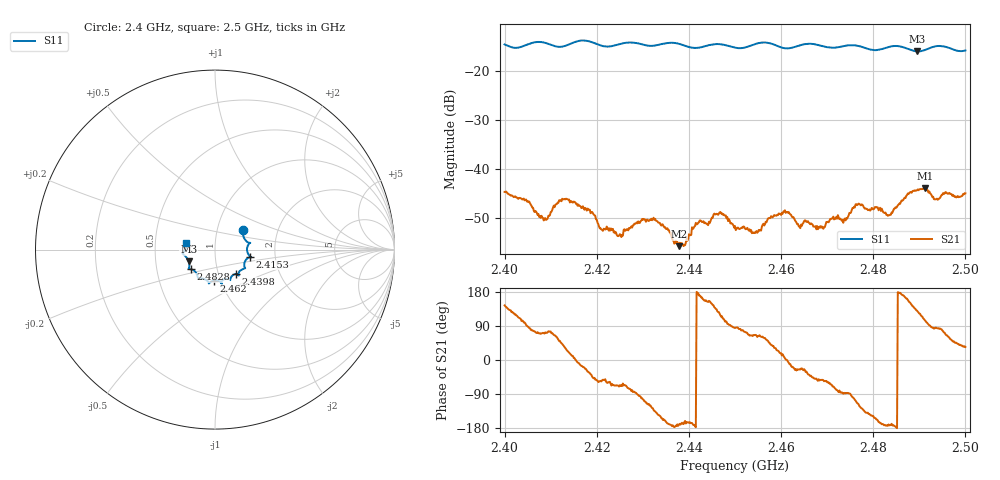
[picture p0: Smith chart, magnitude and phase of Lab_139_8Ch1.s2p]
# Hz S RI R
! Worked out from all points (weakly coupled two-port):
!   601 points, 2.4 GHz to 2.5 GHz, reference 50 ohm
!   highest |S21| = -44.00 dB at 2.4912 GHz (marker M1); lowest = -55.9 dB at 2.4378 GHz (marker M2)
!   lowest |S11| = -15.9 dB at 2.4895 GHz (marker M3), VSWR 1.38, Z = 37 - j5 ohm
!   |S11| at or under -10 dB: start of sweep to end of sweep
!   S12 and S22 are empty: the file has one direction only
!   S11 on the Smith chart (normalised r, x): 2.4 GHz: 1.33, +0.30; 2.4153 GHz: 1.48, -0.12; 2.4398 GHz: 1.21, -0.34; 2.462 GHz: 0.93, -0.33; 2.4828 GHz: 0.74, -0.17; 2.5 GHz: 0.72, +0.06
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2.4e9  0.1555 0.1072  -0.00469 0.0034  0 0  0 0
2.408833e9  0.1926 0.0352  0.000917 0.00298  0 0  0 0
2.412333e9  0.1784 -0.00488  0.00332 0.00326  0 0  0 0
2.415333e9  0.1964 -0.0389  0.00452 0.000105  0 0  0 0
2.416667e9  0.2026 -0.0429  0.0038 -0.00107  0 0  0 0
2.424833e9  0.1643 -0.0951  0.000704 -0.00194  0 0  0 0
2.433333e9  0.1304 -0.1337  -0.00229 -0.00162  0 0  0 0
2.437833e9  0.1296 -0.1409  -0.00159 -0.000263  0 0  0 0
2.439833e9  0.1154 -0.136  -0.00185 -0.000506  0 0  0 0
2.446333e9  0.0851 -0.1703  -0.00201 0.00271  0 0  0 0
2.45e9  0.0654 -0.1625  0.000253 0.00257  0 0  0 0
2.4545e9  0.0355 -0.1878  0.0009 0.00204  0 0  0 0
2.462e9  -0.00518 -0.173  0.00335 -0.000652  0 0  0 0
2.466667e9  -0.0344 -0.1882  0.00192 -0.00192  0 0  0 0
2.473833e9  -0.087 -0.1604  0.000176 -0.00308  0 0  0 0
2.476667e9  -0.0958 -0.1554  -0.00181 -0.0039  0 0  0 0
2.482833e9  -0.1365 -0.1092  -0.00336 -0.000388  0 0  0 0
2.483333e9  -0.1402 -0.109  -0.00328 -0.000573  0 0  0 0
2.4895e9  -0.1459 -0.0659  -0.00388 0.00461  0 0  0 0
2.491167e9  -0.1594 -0.0431  -0.00164 0.0061  0 0  0 0
2.493667e9  -0.1796 -0.0239  0.000416 0.00487  0 0  0 0
2.5e9  -0.159 0.039  0.00462 0.00316  0 0  0 0
